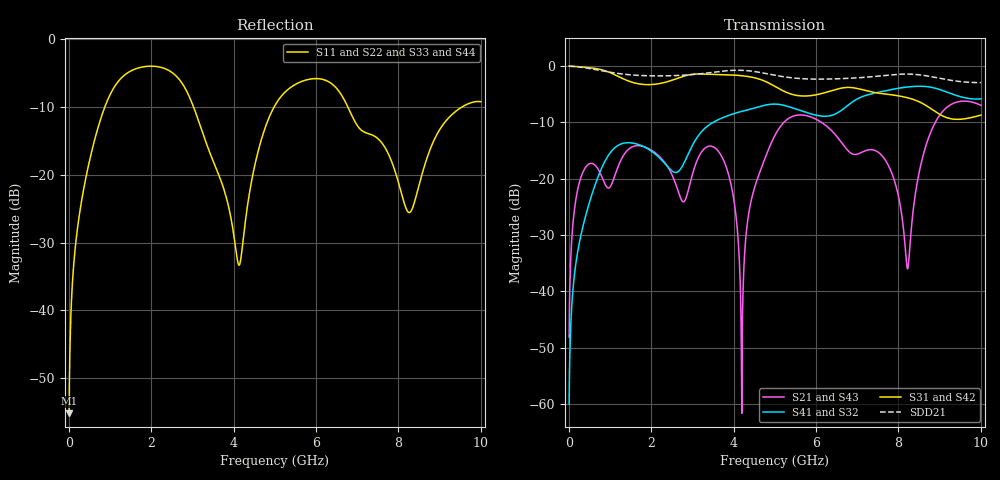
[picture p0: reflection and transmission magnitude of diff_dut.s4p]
# HZ S RI R 50
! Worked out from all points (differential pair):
!   1000 points, 10 MHz to 10 GHz, reference 50 ohm
!   strongest paths, dB at 10 MHz, 2.51 GHz, 5.01 GHz, 7.51 GHz, 10 GHz:
!     S31: 0.0, -2.5, -3.6, -4.8, -8.7
!     S42: 0.0, -2.5, -3.6, -4.8, -8.7
!     S41: -60.0, -18.6, -6.7, -4.7, -5.8
!     S32: -60.0, -18.6, -6.7, -4.7, -5.8
!     S21: -48.1, -19.4, -12.2, -15.3, -7.0
!     S43: -48.1, -19.4, -12.2, -15.3, -7.0
!   taken as a pair (ports 1,2 in; 3,4 out), SDD21 dB: 0.0, -1.7, -1.6, -1.8, -2.9
!   lowest |S11| = -55.2 dB at 10 MHz (marker M1), VSWR 1.00, Z = 50 - j0.174 ohm
!   |S11| at or under -10 dB: start of sweep to 876.8 MHz; 3.028 GHz to 4.984 GHz (1.956 GHz wide, 48.8 % of centre); 6.772 GHz to 9.542 GHz (2.77 GHz wide, 34 % of centre)
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1e7  -7.02e-05 -0.00174  0.000174 0.00393  0.9992 -0.0245  1.46e-05 -0.000999
     0.000174 0.00393  -7.02e-05 -0.00174  1.46e-05 -0.000999  0.9992 -0.0245
     0.9992 -0.0245  1.46e-05 -0.000999  -7.02e-05 -0.00174  0.000174 0.00393
     1.46e-05 -0.000999  0.9992 -0.0245  0.000174 0.00393  -7.02e-05 -0.00174
1.42e9  0.1831 0.5314  0.1723 0.0443  -0.7214 0.1863  0.1208 0.1704
        0.1723 0.0443  0.1831 0.5314  0.1208 0.1704  -0.7214 0.1863
        -0.7214 0.1863  0.1208 0.1704  0.1831 0.5314  0.1723 0.0443
        0.1208 0.1704  -0.7214 0.1863  0.1723 0.0443  0.1831 0.5314
2.86e9  -0.0211 -0.4139  -0.0602 0.0351  0.8224 -0.0885  -0.00922 -0.1539
        -0.0602 0.0351  -0.0211 -0.4139  -0.00922 -0.1539  0.8224 -0.0885
        0.8224 -0.0885  -0.00922 -0.1539  -0.0211 -0.4139  -0.0602 0.0351
        -0.00922 -0.1539  0.8224 -0.0885  -0.0602 0.0351  -0.0211 -0.4139
4.2e9  -0.0154 -0.0224  0.000247 0.000786  -0.7985 0.1956  0.1003 0.3836
       0.000247 0.000786  -0.0154 -0.0224  0.1003 0.3836  -0.7985 0.1956
       -0.7985 0.1956  0.1003 0.3836  -0.0154 -0.0224  0.000247 0.000786
       0.1003 0.3836  -0.7985 0.1956  0.000247 0.000786  -0.0154 -0.0224
5.27e9  -0.0456 0.41  0.2963 0.144  0.5511 0.2039  0.0737 -0.4377
        0.2963 0.144  -0.0456 0.41  0.0737 -0.4377  0.5511 0.2039
        0.5511 0.2039  0.0737 -0.4377  -0.0456 0.41  0.2963 0.144
        0.0737 -0.4377  0.5511 0.2039  0.2963 0.144  -0.0456 0.41
8.22e9  -0.0502 -0.0191  -0.0114 -0.011  0.519 -0.0725  -0.1114 -0.6433
        -0.0114 -0.011  -0.0502 -0.0191  -0.1114 -0.6433  0.519 -0.0725
        0.519 -0.0725  -0.1114 -0.6433  -0.0502 -0.0191  -0.0114 -0.011
        -0.1114 -0.6433  0.519 -0.0725  -0.0114 -0.011  -0.0502 -0.0191
1e10  0.3311 0.1  0.2898 -0.3418  -0.2408 0.2773  0.4695 0.2065
      0.2898 -0.3418  0.3311 0.1  0.4695 0.2065  -0.2408 0.2773
      -0.2408 0.2773  0.4695 0.2065  0.3311 0.1  0.2898 -0.3418
      0.4695 0.2065  -0.2408 0.2773  0.2898 -0.3418  0.3311 0.1
